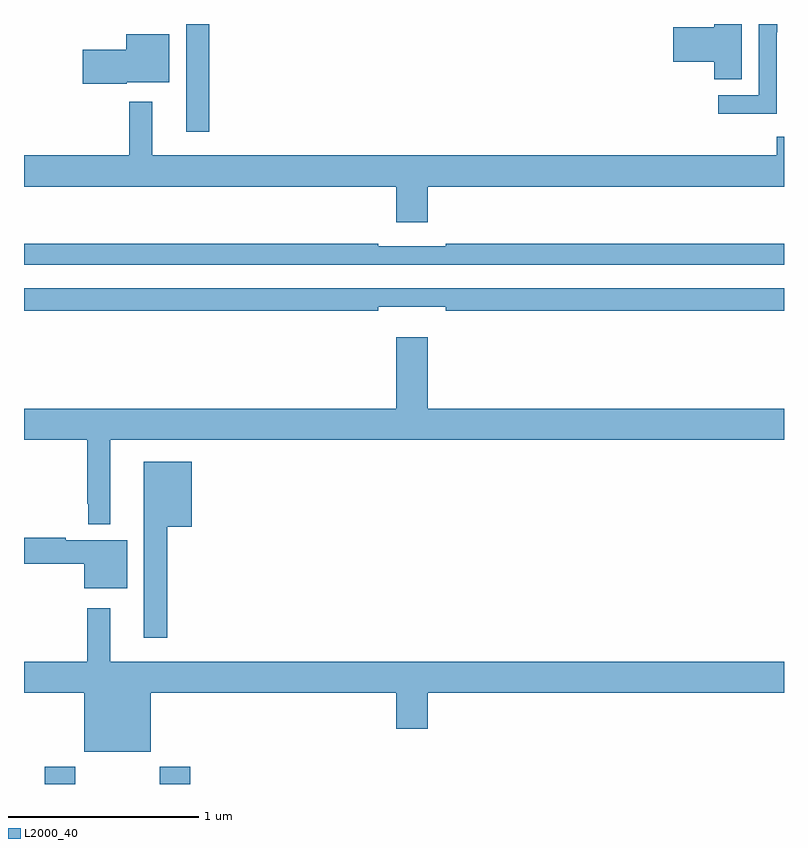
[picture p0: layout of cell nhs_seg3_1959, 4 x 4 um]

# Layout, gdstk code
import gdstk
lib = gdstk.Library(unit=1e-6, precision=1e-09)
def R(c, l, rs):  # rectangles x0, y0, x1, y1
    for r in rs: c.add(gdstk.rectangle(r[:2], r[2:], *l))
def P(c, l, *ps):  # polygons
    for p in ps: c.add(gdstk.Polygon(p, *l))
L2000_40 = (2000, 40)

nhs_seg3_1959 = lib.new_cell('nhs_seg3_1959')
R(nhs_seg3_1959, L2000_40, [(211.109,736.4,211.269,736.492), (211.714,736.4,211.874,736.492), (211.853,739.833,211.975,740.4), (212.63,740.399,213.019,740.4)])
P(nhs_seg3_1959, L2000_40, [(214.777,740.4),(214.634,740.4),(214.634,740.384),(214.416,740.384),(214.416,740.201),(214.634,740.201),(214.634,740.11),(214.777,740.11)],
  [(214.962,740.356),(214.965,740.356),(214.965,740.4),(214.866,740.4),(214.866,740.025),(214.653,740.025),(214.653,739.927),(214.962,739.927)],
  [(211.542,740.093),(211.765,740.093),(211.765,740.347),(211.538,740.347),(211.538,740.264),(211.308,740.264),(211.308,740.086),(211.542,740.086)],
  [(213.124,739.544),(215,739.544),(215,739.807),(214.961,739.807),(214.961,739.708),(211.675,739.708),(211.675,739.99),(211.554,739.99),(211.554,739.708),(211,739.708),(211,739.544),(212.96,739.544),(212.96,739.356),(213.124,739.356)],
  [(215,739.243),(213.22,739.243),(213.22,739.23),(212.864,739.23),(212.864,739.243),(211,739.243),(211,739.134),(215,739.134)],
  [(212.864,738.911),(213.22,738.911),(213.22,738.892),(215,738.892),(215,739.008),(211,739.008),(211,738.892),(212.864,738.892)],
  [(211.453,738.212),(215,738.212),(215,738.376),(213.124,738.376),(213.124,738.751),(212.96,738.751),(212.96,738.376),(211,738.376),(211,738.212),(211.332,738.212),(211.332,737.875),(211.338,737.875),(211.338,737.768),(211.453,737.768)],
  [(211.753,737.753),(211.882,737.753),(211.882,738.097),(211.631,738.097),(211.631,737.169),(211.753,737.169)],
  [(211.543,737.683),(211.22,737.683),(211.22,737.696),(211,737.696),(211,737.56),(211.316,737.56),(211.316,737.429),(211.543,737.429)],
  [(211,736.88),(211.316,736.88),(211.316,736.571),(211.666,736.571),(211.666,736.88),(212.96,736.88),(212.96,736.692),(213.124,736.692),(213.124,736.88),(215,736.88),(215,737.044),(211.453,737.044),(211.453,737.326),(211.332,737.326),(211.332,737.044),(211,737.044)])

lib.write_gds('nhs_seg3_1959.gds')
